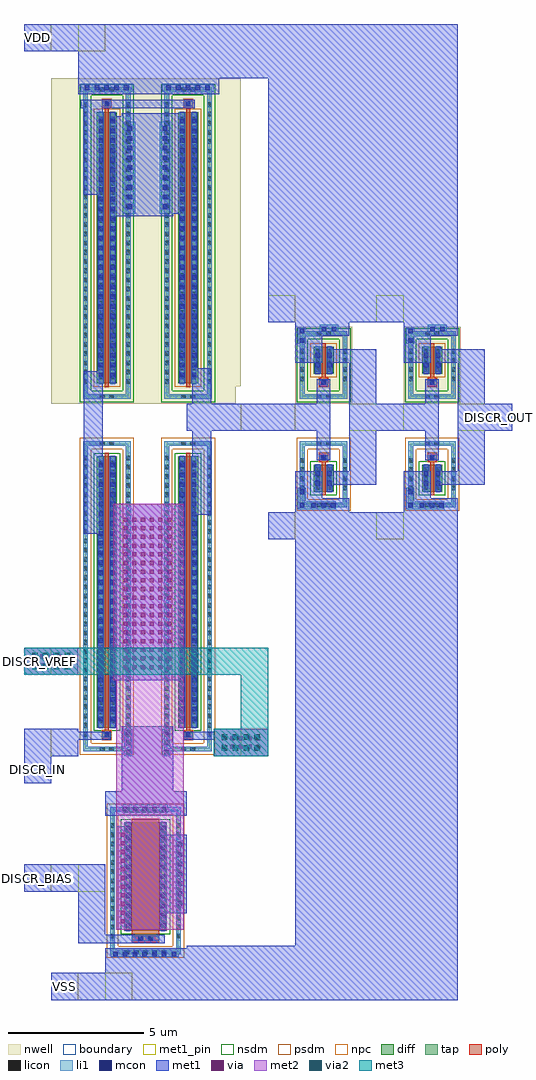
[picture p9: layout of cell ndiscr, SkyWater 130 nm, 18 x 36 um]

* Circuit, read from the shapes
.subckt ndiscr DISCR_BIAS DISCR_IN DISCR_OUT DISCR_VREF VDD VSS
XM1 n1 DISCR_IN n2 VSS sky130_fd_pr__nfet_01v8 w=10 l=0.15
XM2 VSS DISCR_BIAS n1 VSS sky130_fd_pr__nfet_01v8 w=4 l=1
XM3 inv_x1_0/INV_IN DISCR_VREF n1 VSS sky130_fd_pr__nfet_01v8 w=10 l=0.15
XM4 inv_x1_1/INV_IN inv_x1_0/INV_IN VSS VSS sky130_fd_pr__nfet_01v8 w=1 l=0.15
XM5 DISCR_OUT inv_x1_1/INV_IN VSS VSS sky130_fd_pr__nfet_01v8 w=1 l=0.15
XM6 VDD n2 n2 VDD sky130_fd_pr__pfet_01v8 w=10 l=0.15
XM7 inv_x1_0/INV_IN n2 VDD VDD sky130_fd_pr__pfet_01v8 w=10 l=0.15
XM8 inv_x1_1/INV_IN inv_x1_0/INV_IN VDD VDD sky130_fd_pr__pfet_01v8 w=1 l=0.15
XM9 DISCR_OUT inv_x1_1/INV_IN VDD VDD sky130_fd_pr__pfet_01v8 w=1 l=0.15
.ends

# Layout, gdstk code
import gdstk
lib = gdstk.Library(unit=1e-6, precision=1e-09)
def R(c, l, rs):  # rectangles x0, y0, x1, y1
    for r in rs: c.add(gdstk.rectangle(r[:2], r[2:], *l))
def A(c, l, x, y, w, h, nx, ny, dx, dy):  # array of equal rectangles
    R(c, l, [(x+i*dx, y+j*dy, x+i*dx+w, y+j*dy+h) for i in range(nx) for j in range(ny)])
nwell = (64, 20)
diff = (65, 20)
tap = (65, 44)
poly = (66, 20)
licon = (66, 44)
li1 = (67, 20)
mcon = (67, 44)
met1_pin = (68, 16)
met1 = (68, 20)
via = (68, 44)
met2 = (69, 20)
via2 = (69, 44)
met3 = (70, 20)
nsdm = (93, 44)
psdm = (94, 20)
npc = (95, 20)
boundary = (235, 4)

sky130_fd_pr__pfet_01v8_ = lib.new_cell('sky130_fd_pr__pfet_01v8_LGS3BL')
R(sky130_fd_pr__pfet_01v8_, nwell, [(-1.055,-1.42,1.055,1.42)])
R(sky130_fd_pr__pfet_01v8_, diff, [(-0.365,-0.32,0.365,0.68)])
R(sky130_fd_pr__pfet_01v8_, tap, [(-0.875,-1.24,0.875,-1.07), (-0.875,-1.07,-0.705,1.07), (0.705,-1.07,0.875,1.07), (-0.875,1.07,0.875,1.24)])
R(sky130_fd_pr__pfet_01v8_, poly, [(-0.165,-0.805,0.165,-0.475), (-0.075,-0.475,0.075,0.81)])
A(sky130_fd_pr__pfet_01v8_, licon, -0.875, -0.595, 0.17, 0.17, 1, 4, 0, 0.34)
A(sky130_fd_pr__pfet_01v8_, licon, 0.705, -0.595, 0.17, 0.17, 1, 4, 0, 0.34)
A(sky130_fd_pr__pfet_01v8_, licon, -0.305, -0.245, 0.17, 0.17, 1, 3, 0, 0.34)
A(sky130_fd_pr__pfet_01v8_, licon, 0.135, -0.245, 0.17, 0.17, 1, 3, 0, 0.34)
R(sky130_fd_pr__pfet_01v8_, licon, [(-0.255,-1.24,-0.085,-1.07), (0.085,-1.24,0.255,-1.07), (-0.085,-0.725,0.085,-0.555), (-0.255,1.07,-0.085,1.24), (0.085,1.07,0.255,1.24)])
R(sky130_fd_pr__pfet_01v8_, li1, [(-0.875,-1.24,0.875,-1.07), (-0.875,-1.07,-0.705,1.07), (0.705,-1.07,0.875,1.07), (-0.165,-0.725,0.165,-0.555), (-0.305,-0.34,-0.135,0.7), (0.135,-0.34,0.305,0.7), (-0.875,1.07,0.875,1.24)])
R(sky130_fd_pr__pfet_01v8_, mcon, [(-0.085,-0.725,0.085,-0.555), (-0.305,-0.085,-0.135,0.085), (0.135,-0.085,0.305,0.085), (-0.305,0.275,-0.135,0.445), (0.135,0.275,0.305,0.445)])
R(sky130_fd_pr__pfet_01v8_, met1, [(-0.145,-0.755,0.145,-0.525), (-0.335,-0.32,-0.105,0.68), (0.105,-0.32,0.335,0.68)])
R(sky130_fd_pr__pfet_01v8_, nsdm, [(-1,-1.365,1,-0.945), (-1,-0.945,-0.58,0.945), (0.58,-0.945,1,0.945), (-1,0.945,1,1.365)])
R(sky130_fd_pr__pfet_01v8_, psdm, [(-0.49,-0.445,0.49,0.805)])
R(sky130_fd_pr__pfet_01v8_, npc, [(-0.185,-0.825,0.185,-0.455)])
R(sky130_fd_pr__pfet_01v8_, boundary, [(-0.79,-1.155,0.79,1.155)])

sky130_fd_pr__nfet_01v8_ = lib.new_cell('sky130_fd_pr__nfet_01v8_64Z3AY')
R(sky130_fd_pr__nfet_01v8_, diff, [(-0.365,-0.655,0.365,0.345)])
R(sky130_fd_pr__nfet_01v8_, tap, [(-0.875,-1.215,0.875,-1.045), (-0.875,-1.045,-0.705,1.045), (0.705,-1.045,0.875,1.045), (-0.875,1.045,0.875,1.215)])
R(sky130_fd_pr__nfet_01v8_, poly, [(-0.075,-0.785,0.075,0.455), (-0.165,0.455,0.165,0.785)])
A(sky130_fd_pr__nfet_01v8_, licon, -0.875, -0.595, 0.17, 0.17, 1, 4, 0, 0.34)
A(sky130_fd_pr__nfet_01v8_, licon, 0.705, -0.595, 0.17, 0.17, 1, 4, 0, 0.34)
A(sky130_fd_pr__nfet_01v8_, licon, -0.305, -0.58, 0.17, 0.17, 1, 3, 0, 0.34)
A(sky130_fd_pr__nfet_01v8_, licon, 0.135, -0.58, 0.17, 0.17, 1, 3, 0, 0.34)
R(sky130_fd_pr__nfet_01v8_, licon, [(-0.255,-1.215,-0.085,-1.045), (0.085,-1.215,0.255,-1.045), (-0.085,0.535,0.085,0.705), (-0.255,1.045,-0.085,1.215), (0.085,1.045,0.255,1.215)])
R(sky130_fd_pr__nfet_01v8_, li1, [(-0.875,-1.215,0.875,-1.045), (-0.875,-1.045,-0.705,1.045), (0.705,-1.045,0.875,1.045), (-0.305,-0.675,-0.135,0.365), (0.135,-0.675,0.305,0.365), (-0.165,0.535,0.165,0.705), (-0.875,1.045,0.875,1.215)])
R(sky130_fd_pr__nfet_01v8_, mcon, [(-0.305,-0.42,-0.135,-0.25), (0.135,-0.42,0.305,-0.25), (-0.305,-0.06,-0.135,0.11), (0.135,-0.06,0.305,0.11), (-0.085,0.535,0.085,0.705)])
R(sky130_fd_pr__nfet_01v8_, met1, [(-0.335,-0.655,-0.105,0.345), (0.105,-0.655,0.335,0.345), (-0.145,0.505,0.145,0.735)])
R(sky130_fd_pr__nfet_01v8_, nsdm, [(-0.49,-0.78,0.49,0.47)])
R(sky130_fd_pr__nfet_01v8_, psdm, [(-1,-1.34,1,-0.92), (-1,-0.92,-0.58,0.92), (0.58,-0.92,1,0.92), (-1,0.92,1,1.34)])
R(sky130_fd_pr__nfet_01v8_, npc, [(-0.185,0.435,0.185,0.805)])
R(sky130_fd_pr__nfet_01v8_, boundary, [(-0.79,-1.13,0.79,1.13)])

inv_x1 = lib.new_cell('inv_x1')
R(inv_x1, li1, [(2.1,-5.9,3.5,-5.6), (2.1,-5.6,2.4,-5.1), (2.1,0.2,2.4,0.8), (2.9,0.6,3.6,0.9)])
A(inv_x1, mcon, 2.6, -5.835, 0.17, 0.17, 3, 1, 0.36, 0)
R(inv_x1, mcon, [(2.165,-5.835,2.335,-5.665), (2.165,-5.34,2.335,-5.17), (2.165,0.235,2.335,0.405), (2.165,0.595,2.335,0.765), (2.985,0.665,3.155,0.835), (3.345,0.665,3.515,0.835)])
A(inv_x1, met1_pin, 1, -7, 1, 1, 1, 3, 0, 4)
R(inv_x1, met1_pin, [(4,-3,5,-2)])
R(inv_x1, met1, [(1,-7,4,-6), (2,-6,4,-5.5), (2,-5.5,3,-4.5), (3.2,-5,5,-4.5), (4,-4.5,5,-0.5), (2.8,-4.1,3.3,-3), (1,-3,3.3,-2), (2.8,-2,3.3,-1.1), (2,-0.5,3,0.5), (3.2,-0.5,5,0), (2,0.5,4,1), (1,1,4,2)])
inv_x1.add(gdstk.Reference(sky130_fd_pr__pfet_01v8_, (3.055,-0.58)))
inv_x1.add(gdstk.Reference(sky130_fd_pr__nfet_01v8_, (3.055,-4.605)))
inv_x1.add(gdstk.Label('INV_IN', (1.5,-2.5), layer=68, texttype=5))
inv_x1.add(gdstk.Label('INV_OUT', (4.5,-2.5), layer=68, texttype=5))
inv_x1.add(gdstk.Label('VSS', (1.5,-6.5), layer=68, texttype=5))
inv_x1.add(gdstk.Label('VDD', (1.5,1.5), layer=68, texttype=5))

c_sky130_fd_pr__nfet_01v8_ = lib.new_cell('sky130_fd_pr__nfet_01v8_A5WNKR')
R(c_sky130_fd_pr__nfet_01v8_, diff, [(-0.365,-4.845,0.365,5.155)])
R(c_sky130_fd_pr__nfet_01v8_, tap, [(-0.875,-5.715,0.875,-5.545), (-0.875,-5.545,-0.705,5.545), (0.705,-5.545,0.875,5.545), (-0.875,5.545,0.875,5.715)])
R(c_sky130_fd_pr__nfet_01v8_, poly, [(-0.165,-5.285,0.165,-4.955), (-0.075,-4.955,0.075,5.285)])
A(c_sky130_fd_pr__nfet_01v8_, licon, -0.875, -5.185, 0.17, 0.17, 1, 31, 0, 0.34)
A(c_sky130_fd_pr__nfet_01v8_, licon, 0.705, -5.185, 0.17, 0.17, 1, 31, 0, 0.34)
A(c_sky130_fd_pr__nfet_01v8_, licon, -0.305, -4.69, 0.17, 0.17, 1, 29, 0, 0.34)
A(c_sky130_fd_pr__nfet_01v8_, licon, 0.135, -4.69, 0.17, 0.17, 1, 29, 0, 0.34)
R(c_sky130_fd_pr__nfet_01v8_, licon, [(-0.255,-5.715,-0.085,-5.545), (0.085,-5.715,0.255,-5.545), (-0.085,-5.205,0.085,-5.035), (-0.255,5.545,-0.085,5.715), (0.085,5.545,0.255,5.715)])
R(c_sky130_fd_pr__nfet_01v8_, li1, [(-0.875,-5.715,0.875,-5.545), (-0.875,-5.545,-0.705,5.545), (0.705,-5.545,0.875,5.545), (-0.165,-5.205,0.165,-5.035), (-0.305,-4.865,-0.135,5.175), (0.135,-4.865,0.305,5.175), (-0.875,5.545,0.875,5.715)])
A(c_sky130_fd_pr__nfet_01v8_, mcon, -0.305, -4.61, 0.17, 0.17, 1, 27, 0, 0.36)
A(c_sky130_fd_pr__nfet_01v8_, mcon, 0.135, -4.61, 0.17, 0.17, 1, 27, 0, 0.36)
R(c_sky130_fd_pr__nfet_01v8_, mcon, [(-0.085,-5.205,0.085,-5.035)])
R(c_sky130_fd_pr__nfet_01v8_, met1, [(-0.145,-5.235,0.145,-5.005), (-0.335,-4.845,-0.105,5.155), (0.105,-4.845,0.335,5.155)])
R(c_sky130_fd_pr__nfet_01v8_, nsdm, [(-0.49,-4.97,0.49,5.28)])
R(c_sky130_fd_pr__nfet_01v8_, psdm, [(-1,-5.84,1,-5.42), (-1,-5.42,-0.58,5.42), (0.58,-5.42,1,5.42), (-1,5.42,1,5.84)])
R(c_sky130_fd_pr__nfet_01v8_, npc, [(-0.185,-5.305,0.185,-4.935)])
R(c_sky130_fd_pr__nfet_01v8_, boundary, [(-0.79,-5.63,0.79,5.63)])

c_sky130_fd_pr__pfet_01v8_ = lib.new_cell('sky130_fd_pr__pfet_01v8_MGA8MK')
R(c_sky130_fd_pr__pfet_01v8_, nwell, [(-1.055,-5.92,1.055,5.92)])
R(c_sky130_fd_pr__pfet_01v8_, diff, [(-0.365,-5.18,0.365,4.82)])
R(c_sky130_fd_pr__pfet_01v8_, tap, [(-0.875,-5.74,0.875,-5.57), (-0.875,-5.57,-0.705,5.57), (0.705,-5.57,0.875,5.57), (-0.875,5.57,0.875,5.74)])
R(c_sky130_fd_pr__pfet_01v8_, poly, [(-0.075,-5.31,0.075,4.975), (-0.165,4.975,0.165,5.305)])
A(c_sky130_fd_pr__pfet_01v8_, licon, -0.875, -5.185, 0.17, 0.17, 1, 31, 0, 0.34)
A(c_sky130_fd_pr__pfet_01v8_, licon, 0.705, -5.185, 0.17, 0.17, 1, 31, 0, 0.34)
A(c_sky130_fd_pr__pfet_01v8_, licon, -0.305, -5.025, 0.17, 0.17, 1, 29, 0, 0.34)
A(c_sky130_fd_pr__pfet_01v8_, licon, 0.135, -5.025, 0.17, 0.17, 1, 29, 0, 0.34)
R(c_sky130_fd_pr__pfet_01v8_, licon, [(-0.255,-5.74,-0.085,-5.57), (0.085,-5.74,0.255,-5.57), (-0.085,5.055,0.085,5.225), (-0.255,5.57,-0.085,5.74), (0.085,5.57,0.255,5.74)])
R(c_sky130_fd_pr__pfet_01v8_, li1, [(-0.875,-5.74,0.875,-5.57), (-0.875,-5.57,-0.705,5.57), (0.705,-5.57,0.875,5.57), (-0.305,-5.2,-0.135,4.84), (0.135,-5.2,0.305,4.84), (-0.165,5.055,0.165,5.225), (-0.875,5.57,0.875,5.74)])
A(c_sky130_fd_pr__pfet_01v8_, mcon, -0.305, -4.945, 0.17, 0.17, 1, 27, 0, 0.36)
A(c_sky130_fd_pr__pfet_01v8_, mcon, 0.135, -4.945, 0.17, 0.17, 1, 27, 0, 0.36)
R(c_sky130_fd_pr__pfet_01v8_, mcon, [(-0.085,5.055,0.085,5.225)])
R(c_sky130_fd_pr__pfet_01v8_, met1, [(-0.335,-5.18,-0.105,4.82), (0.105,-5.18,0.335,4.82), (-0.145,5.025,0.145,5.255)])
R(c_sky130_fd_pr__pfet_01v8_, nsdm, [(-1,-5.865,1,-5.445), (-1,-5.445,-0.58,5.445), (0.58,-5.445,1,5.445), (-1,5.445,1,5.865)])
R(c_sky130_fd_pr__pfet_01v8_, psdm, [(-0.49,-5.305,0.49,4.945)])
R(c_sky130_fd_pr__pfet_01v8_, npc, [(-0.185,4.955,0.185,5.325)])
R(c_sky130_fd_pr__pfet_01v8_, boundary, [(-0.79,-5.655,0.79,5.655)])

c_sky130_fd_pr__nfet_01v8__ = lib.new_cell('sky130_fd_pr__nfet_01v8_5ZS3RT')
R(c_sky130_fd_pr__nfet_01v8__, diff, [(-0.79,-1.845,0.79,2.155)])
R(c_sky130_fd_pr__nfet_01v8__, tap, [(-1.3,-2.715,1.3,-2.545), (-1.3,-2.545,-1.13,2.545), (1.13,-2.545,1.3,2.545), (-1.3,2.545,1.3,2.715)])
R(c_sky130_fd_pr__nfet_01v8__, poly, [(-0.5,-2.285,0.5,2.285)])
A(c_sky130_fd_pr__nfet_01v8__, licon, -0.765, -2.715, 0.17, 0.17, 5, 2, 0.34, 5.26)
A(c_sky130_fd_pr__nfet_01v8__, licon, -1.3, -2.125, 0.17, 0.17, 1, 13, 0, 0.34)
A(c_sky130_fd_pr__nfet_01v8__, licon, 1.13, -2.125, 0.17, 0.17, 1, 13, 0, 0.34)
A(c_sky130_fd_pr__nfet_01v8__, licon, -0.73, -1.63, 0.17, 0.17, 1, 11, 0, 0.34)
A(c_sky130_fd_pr__nfet_01v8__, licon, 0.56, -1.63, 0.17, 0.17, 1, 11, 0, 0.34)
R(c_sky130_fd_pr__nfet_01v8__, licon, [(-0.255,-2.205,-0.085,-2.035), (0.085,-2.205,0.255,-2.035)])
R(c_sky130_fd_pr__nfet_01v8__, li1, [(-1.3,-2.715,1.3,-2.545), (-1.3,-2.545,-1.13,2.545), (1.13,-2.545,1.3,2.545), (-0.5,-2.205,0.5,-2.035), (-0.73,-1.865,-0.56,2.175), (0.56,-1.865,0.73,2.175), (-1.3,2.545,1.3,2.715)])
A(c_sky130_fd_pr__nfet_01v8__, mcon, -0.73, -1.73, 0.17, 0.17, 1, 11, 0, 0.36)
A(c_sky130_fd_pr__nfet_01v8__, mcon, 0.56, -1.73, 0.17, 0.17, 1, 11, 0, 0.36)
R(c_sky130_fd_pr__nfet_01v8__, mcon, [(-0.265,-2.205,-0.095,-2.035), (0.095,-2.205,0.265,-2.035)])
R(c_sky130_fd_pr__nfet_01v8__, met1, [(-0.48,-2.235,0.48,-2.005), (-0.76,-1.845,-0.53,2.155), (0.53,-1.845,0.76,2.155)])
R(c_sky130_fd_pr__nfet_01v8__, nsdm, [(-0.915,-1.97,0.915,2.28)])
R(c_sky130_fd_pr__nfet_01v8__, psdm, [(-1.425,-2.84,1.425,-2.42), (-1.425,-2.42,-1.005,2.42), (1.005,-2.42,1.425,2.42), (-1.425,2.42,1.425,2.84)])
R(c_sky130_fd_pr__nfet_01v8__, npc, [(-0.355,-2.305,0.355,-1.935)])
R(c_sky130_fd_pr__nfet_01v8__, boundary, [(-1.215,-2.63,1.215,2.63)])

amp = lib.new_cell('amp')
R(amp, nwell, [(5,9,11.81,9.63), (5,9.63,12,21)])
R(amp, li1, [(7.2,-11.4,9.7,-11.2), (9.6,-9.6,9.9,-7.1), (7.6,-6.1,9.3,-5.8), (7.7,-4,8,-3), (9.1,-4,9.4,-3), (7.7,16,8.1,19.4), (9,16,9.4,19.4), (6.1,20.5,8,20.8), (9.1,20.5,11,20.8)])
A(amp, mcon, 7.285, -11.385, 0.17, 0.17, 7, 1, 0.36, 0)
A(amp, mcon, 9.665, -9.515, 0.17, 0.17, 1, 7, 0, 0.36)
A(amp, mcon, 7.645, -6.035, 0.17, 0.17, 5, 1, 0.36, 0)
A(amp, mcon, 7.765, -3.945, 0.17, 0.17, 1, 3, 0, 0.36)
A(amp, mcon, 9.165, -3.945, 0.17, 0.17, 1, 3, 0, 0.36)
A(amp, mcon, 7.815, 16.175, 0.17, 0.17, 1, 9, 0, 0.36)
A(amp, mcon, 9.115, 16.175, 0.17, 0.17, 1, 9, 0, 0.36)
A(amp, mcon, 6.245, 20.565, 0.17, 0.17, 5, 1, 0.36, 0)
A(amp, mcon, 9.245, 20.565, 0.17, 0.17, 5, 1, 0.36, 0)
R(amp, met1_pin, [(7,-13,8,-12), (6,-9,7,-8), (4,-4,5,-3), (12,-4,13,-3), (12,8,13,9), (6,22,7,23)])
R(amp, met1, [(7,-13,10,-11.1), (6,-10.9,9.2,-10.6), (6,-10.6,7,-8), (7.4,-10.4,7.9,-6.6), (9.1,-9.8,10,-6.9), (7,-6.2,10,-5.3), (7.6,-5.3,9.5,-2.9), (4,-4,6,-3.4), (11,-4,13,-3.4), (4,-3.4,7.2,-3.1), (9.9,-3.4,13,-3.1), (4,-3.1,6,-3), (11,-3.1,13,-3), (7.3,-1.2,9.9,5.3), (6.2,4.2,6.9,10.2), (10.2,4.9,10.9,8), (10,8,13,9), (10.2,9,10.9,10.3), (7.2,15.9,9.5,16), (7.2,16,9.9,19.6), (6.2,16.7,6.9,19.9), (7.6,19.6,9.9,19.7), (6.1,19.9,10.3,20.2), (6,20.4,11.2,23)])
A(amp, via, 7.575, -10.175, 0.15, 0.15, 1, 11, 0, 0.32)
A(amp, via, 7.675, -0.795, 0.15, 0.15, 6, 18, 0.32, 0.32)
R(amp, met2, [(7.4,-10.4,9.9,-1.2), (7.3,-1.2,9.9,5.3)])
amp.add(gdstk.Reference(c_sky130_fd_pr__nfet_01v8_, (10.055,1.895)))
amp.add(gdstk.Reference(c_sky130_fd_pr__pfet_01v8_, (7.055,14.92)))
amp.add(gdstk.Reference(c_sky130_fd_pr__pfet_01v8_, (10.055,14.92)))
amp.add(gdstk.Reference(c_sky130_fd_pr__nfet_01v8__, (8.48,-8.605)))
amp.add(gdstk.Reference(c_sky130_fd_pr__nfet_01v8_, (7.055,1.895)))
amp.add(gdstk.Label('amp_out', (12.5,8.5), layer=68, texttype=5))
amp.add(gdstk.Label('NBIAS', (6.5,-8.5), layer=68, texttype=5))
amp.add(gdstk.Label('AMP_N', (12.5,-3.5), layer=68, texttype=5))
amp.add(gdstk.Label('AMP_P', (4.5,-3.5), layer=68, texttype=5))
amp.add(gdstk.Label('VSS', (7.5,-12.5), layer=68, texttype=5))
amp.add(gdstk.Label('VDD', (6.5,22.5), layer=68, texttype=5))

ndiscr = lib.new_cell('ndiscr')
A(ndiscr, met1_pin, 2, -4, 1, 1, 1, 3, 0, 4)
R(ndiscr, met1_pin, [(3,-8,4,-7), (19,13,20,14), (2,27,3,28)])
R(ndiscr, met1, [(3,-8,5,-7), (8,-8,18,-6), (12,-6,18,9), (2,-4,4,-3), (2,0,3,1), (9.1,1.1,10.9,1.9), (2,4,4,5), (11,9,18,10), (19,13,20,14), (11,17,18,26), (9,26,18,28), (2,27,5,28)])
A(ndiscr, via, 9.285, 1.265, 0.15, 0.15, 5, 2, 0.32, 0.32)
A(ndiscr, via, 2.285, 4.265, 0.15, 0.15, 5, 2, 0.32, 0.32)
R(ndiscr, met2, [(9,1,11,2), (2,4,4,5)])
A(ndiscr, via2, 9.3, 1.2, 0.2, 0.2, 4, 2, 0.4, 0.4)
A(ndiscr, via2, 2.3, 4.2, 0.2, 0.2, 4, 2, 0.4, 0.4)
R(ndiscr, met3, [(9,1,11,2), (10,2,11,4), (2,4,11,5)])
ndiscr.add(gdstk.Reference(inv_x1, (10,16)))
ndiscr.add(gdstk.Reference(inv_x1, (14,16)))
ndiscr.add(gdstk.Reference(amp, (-2,5)))
ndiscr.add(gdstk.Label('DISCR_VREF', (2.5,4.5), layer=68, texttype=5))
ndiscr.add(gdstk.Label('DISCR_OUT', (19.5,13.5), layer=68, texttype=5))
ndiscr.add(gdstk.Label('DISCR_IN', (2.5,0.5), layer=68, texttype=5))
ndiscr.add(gdstk.Label('DISCR_BIAS', (2.5,-3.5), layer=68, texttype=5))
ndiscr.add(gdstk.Label('VSS', (3.5,-7.5), layer=68, texttype=5))
ndiscr.add(gdstk.Label('VDD', (2.5,27.5), layer=68, texttype=5))

lib.write_gds('ndiscr.gds')
